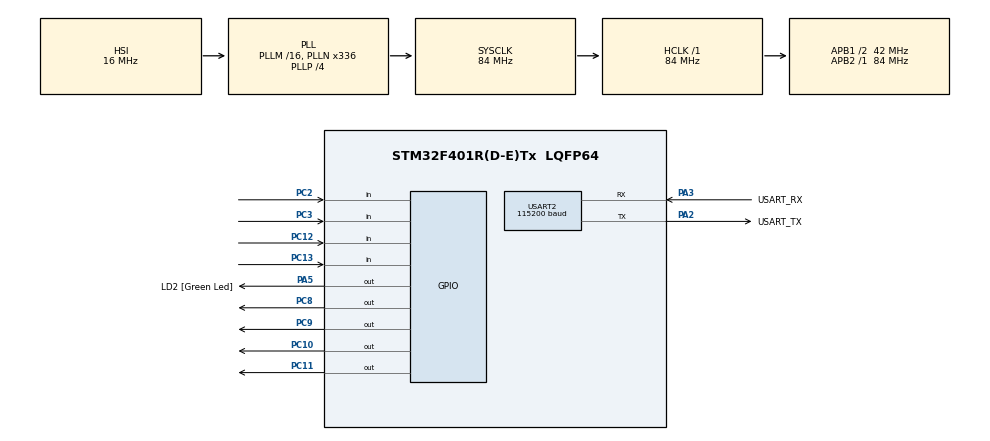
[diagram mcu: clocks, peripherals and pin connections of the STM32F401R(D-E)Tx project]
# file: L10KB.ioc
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Dma.Request0=USART2_TX
Dma.USART2_TX.0.Direction=DMA_MEMORY_TO_PERIPH
Dma.USART2_TX.0.FIFOMode=DMA_FIFOMODE_DISABLE
Dma.USART2_TX.0.Instance=DMA1_Stream6
Dma.USART2_TX.0.MemDataAlignment=DMA_MDATAALIGN_BYTE
Dma.USART2_TX.0.MemInc=DMA_MINC_ENABLE
Dma.USART2_TX.0.Mode=DMA_NORMAL
Dma.USART2_TX.0.PeriphDataAlignment=DMA_PDATAALIGN_BYTE
Dma.USART2_TX.0.PeriphInc=DMA_PINC_DISABLE
Dma.USART2_TX.0.Priority=DMA_PRIORITY_LOW
Mcu.Family=STM32F4
Mcu.Name=STM32F401R(D-E)Tx
Mcu.Package=LQFP64
NVIC.DMA1_Stream6_IRQn=true\:0\:0\:false\:false\:true\:false\:true\:true
NVIC.PriorityGroup=NVIC_PRIORITYGROUP_0
NVIC.TIM1_UP_TIM10_IRQn=true\:0\:0\:false\:false\:true\:true\:true\:true
NVIC.USART2_IRQn=true\:0\:0\:false\:false\:true\:true\:true\:true
PA13.GPIO_Label=TMS
PA13.Mode=Serial_Wire
PA13.Signal=SYS_JTMS-SWDIO
PA14.GPIO_Label=TCK
PA14.Mode=Serial_Wire
PA14.Signal=SYS_JTCK-SWCLK
PA2.GPIO_Label=USART_TX
PA2.GPIO_Mode=GPIO_MODE_AF_PP
PA2.GPIO_PuPd=GPIO_NOPULL
PA2.GPIO_Speed=GPIO_SPEED_FREQ_LOW
PA2.Mode=Asynchronous
PA2.Signal=USART2_TX
PA3.GPIO_Label=USART_RX
PA3.GPIO_Mode=GPIO_MODE_AF_PP
PA3.GPIO_PuPd=GPIO_NOPULL
PA3.GPIO_Speed=GPIO_SPEED_FREQ_LOW
PA3.Mode=Asynchronous
PA3.Signal=USART2_RX
PA5.GPIO_Label=LD2 [Green Led]
PA5.GPIO_Mode=GPIO_MODE_OUTPUT_PP
PA5.GPIO_PuPd=GPIO_NOPULL
PA5.GPIO_Speed=GPIO_SPEED_FREQ_LOW
PA5.Signal=GPIO_Output
PB3.GPIO_Label=SWO
PB3.Signal=SYS_JTDO-SWO
PC10.Signal=GPIO_Output
PC11.Signal=GPIO_Output
PC12.Signal=GPIO_Input
PC13-ANTI_TAMP.Signal=GPIO_Input
PC14-OSC32_IN.Mode=LSE-External-Oscillator
PC14-OSC32_IN.Signal=RCC_OSC32_IN
PC15-OSC32_OUT.Mode=LSE-External-Oscillator
PC15-OSC32_OUT.Signal=RCC_OSC32_OUT
PC2.Signal=GPIO_Input
PC3.Signal=GPIO_Input
PC8.Signal=GPIO_Output
PC9.Signal=GPIO_Output
PH0\ -\ OSC_IN.Mode=HSE-External-Clock-Source
PH0\ -\ OSC_IN.Signal=RCC_OSC_IN
PH1\ -\ OSC_OUT.Mode=HSE-External-Clock-Source
PH1\ -\ OSC_OUT.Signal=RCC_OSC_OUT
ProjectManager.HeapSize=0x200
ProjectManager.StackSize=0x400
ProjectManager.TargetToolchain=STM32CubeIDE
RCC.48MHZClocksFreq_Value=48000000
RCC.AHBFreq_Value=84000000
RCC.APB1CLKDivider=RCC_HCLK_DIV2
RCC.APB1Freq_Value=42000000
RCC.APB1TimFreq_Value=84000000
RCC.APB2Freq_Value=84000000
RCC.APB2TimFreq_Value=84000000
RCC.CortexFreq_Value=84000000
RCC.HCLKFreq_Value=84000000
RCC.HSE_VALUE=8000000
RCC.HSI_VALUE=16000000
RCC.PLLN=336
RCC.PLLP=RCC_PLLP_DIV4
RCC.PLLQ=7
RCC.SYSCLKFreq_VALUE=84000000
RCC.SYSCLKSource=RCC_SYSCLKSOURCE_PLLCLK
RCC.VCOOutputFreq_Value=336000000
TIM1.Period=39
TIM1.Prescaler=8399
USART2.BaudRate=115200
USART2.VirtualMode=VM_ASYNC
VP_TIM1_VS_ClockSourceINT.Mode=Internal
board=NUCLEO-F401RE

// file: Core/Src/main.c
/* USER CODE BEGIN Header */
/**
  ******************************************************************************
  * @file           : main.c
  * @brief          : Main program body
  ******************************************************************************
  * @attention
  *
  * Copyright (c) 2024 STMicroelectronics.
  * All rights reserved.
  *
  * This software is licensed under terms that can be found in the LICENSE file
  * in the root directory of this software component.
  * If no LICENSE file comes with this software, it is provided AS-IS.
  *
  ******************************************************************************
  */
/* USER CODE END Header */
#include "main.h"

/* USER CODE BEGIN PD */
uint8_t col = 0;	// current column to be read
GPIO_PinState prev[4][4] = {{GPIO_PIN_SET, GPIO_PIN_SET, GPIO_PIN_SET, GPIO_PIN_SET}, // transposed keyboard matrix of previous values
		{GPIO_PIN_SET, GPIO_PIN_SET, GPIO_PIN_SET, GPIO_PIN_SET},
		{GPIO_PIN_SET, GPIO_PIN_SET, GPIO_PIN_SET, GPIO_PIN_SET},
		{GPIO_PIN_SET, GPIO_PIN_SET, GPIO_PIN_SET, GPIO_PIN_SET}
};
GPIO_PinState prev2[4][4] = {{GPIO_PIN_SET, GPIO_PIN_SET, GPIO_PIN_SET, GPIO_PIN_SET}, // transposed keyboard matrix of the values read 2 cycles before
		{GPIO_PIN_SET, GPIO_PIN_SET, GPIO_PIN_SET, GPIO_PIN_SET},
		{GPIO_PIN_SET, GPIO_PIN_SET, GPIO_PIN_SET, GPIO_PIN_SET},
		{GPIO_PIN_SET, GPIO_PIN_SET, GPIO_PIN_SET, GPIO_PIN_SET}
};
GPIO_PinState col_activation[4][4] = {{GPIO_PIN_SET, GPIO_PIN_RESET, GPIO_PIN_RESET, GPIO_PIN_RESET}, // values to send to column GPIO pins for activation
		{GPIO_PIN_RESET, GPIO_PIN_SET, GPIO_PIN_RESET, GPIO_PIN_RESET},
		{GPIO_PIN_RESET, GPIO_PIN_RESET, GPIO_PIN_SET, GPIO_PIN_RESET},
		{GPIO_PIN_RESET, GPIO_PIN_RESET, GPIO_PIN_RESET, GPIO_PIN_SET}
};
char character[4][4] = {{'F', 'B', '7', '3'},	// character associated with each key
		{'E', 'A', '6', '2'},
		{'D', '9', '5', '1'},
		{'C', '8', '4', '0'}
};
char string[128]; 	// string for UART transmission
int length;			// length of string
/* USER CODE END PD */

TIM_HandleTypeDef htim1;

UART_HandleTypeDef huart2;
DMA_HandleTypeDef hdma_usart2_tx;

void SystemClock_Config(void);
static void MX_GPIO_Init(void);
static void MX_DMA_Init(void);
static void MX_USART2_UART_Init(void);
static void MX_TIM1_Init(void);

int main(void)
{

  /* MCU Configuration--------------------------------------------------------*/

  /* Reset of all peripherals, Initializes the Flash interface and the Systick. */
  HAL_Init();

  /* Configure the system clock */
  SystemClock_Config();

  /* Initialize all configured peripherals */
  MX_GPIO_Init();
  MX_DMA_Init();
  MX_USART2_UART_Init();
  MX_TIM1_Init();
  /* USER CODE BEGIN 2 */
  // enable first column
  HAL_GPIO_WritePin(GPIOC, GPIO_PIN_11, col_activation[col][0]);
  HAL_GPIO_WritePin(GPIOC, GPIO_PIN_10, col_activation[col][1]);
  HAL_GPIO_WritePin(GPIOC, GPIO_PIN_9, col_activation[col][2]);
  HAL_GPIO_WritePin(GPIOC, GPIO_PIN_8, col_activation[col][3]);

  HAL_TIM_Base_Start_IT(&htim1);
  /* USER CODE END 2 */

  /* Infinite loop */
  while (1)
  {

  }
}

void SystemClock_Config(void)
{
  RCC_OscInitTypeDef RCC_OscInitStruct = {0};
  RCC_ClkInitTypeDef RCC_ClkInitStruct = {0};

  /** Configure the main internal regulator output voltage
  */
  __HAL_RCC_PWR_CLK_ENABLE();
  __HAL_PWR_VOLTAGESCALING_CONFIG(PWR_REGULATOR_VOLTAGE_SCALE2);

  /** Initializes the RCC Oscillators according to the specified parameters
  * in the RCC_OscInitTypeDef structure.
  */
  RCC_OscInitStruct.OscillatorType = RCC_OSCILLATORTYPE_HSI;
  RCC_OscInitStruct.HSIState = RCC_HSI_ON;
  RCC_OscInitStruct.HSICalibrationValue = RCC_HSICALIBRATION_DEFAULT;
  RCC_OscInitStruct.PLL.PLLState = RCC_PLL_ON;
  RCC_OscInitStruct.PLL.PLLSource = RCC_PLLSOURCE_HSI;
  RCC_OscInitStruct.PLL.PLLM = 16;
  RCC_OscInitStruct.PLL.PLLN = 336;
  RCC_OscInitStruct.PLL.PLLP = RCC_PLLP_DIV4;
  RCC_OscInitStruct.PLL.PLLQ = 7;
  if (HAL_RCC_OscConfig(&RCC_OscInitStruct) != HAL_OK)
  {
    Error_Handler();
  }

  /** Initializes the CPU, AHB and APB buses clocks
  */
  RCC_ClkInitStruct.ClockType = RCC_CLOCKTYPE_HCLK|RCC_CLOCKTYPE_SYSCLK
                              |RCC_CLOCKTYPE_PCLK1|RCC_CLOCKTYPE_PCLK2;
  RCC_ClkInitStruct.SYSCLKSource = RCC_SYSCLKSOURCE_PLLCLK;
  RCC_ClkInitStruct.AHBCLKDivider = RCC_SYSCLK_DIV1;
  RCC_ClkInitStruct.APB1CLKDivider = RCC_HCLK_DIV2;
  RCC_ClkInitStruct.APB2CLKDivider = RCC_HCLK_DIV1;

  if (HAL_RCC_ClockConfig(&RCC_ClkInitStruct, FLASH_LATENCY_2) != HAL_OK)
  {
    Error_Handler();
  }
}

static void MX_TIM1_Init(void)
{

  TIM_ClockConfigTypeDef sClockSourceConfig = {0};
  TIM_MasterConfigTypeDef sMasterConfig = {0};

  htim1.Instance = TIM1;
  htim1.Init.Prescaler = 8399;
  htim1.Init.CounterMode = TIM_COUNTERMODE_UP;
  htim1.Init.Period = 39;
  htim1.Init.ClockDivision = TIM_CLOCKDIVISION_DIV1;
  htim1.Init.RepetitionCounter = 0;
  htim1.Init.AutoReloadPreload = TIM_AUTORELOAD_PRELOAD_DISABLE;
  if (HAL_TIM_Base_Init(&htim1) != HAL_OK)
  {
    Error_Handler();
  }
  sClockSourceConfig.ClockSource = TIM_CLOCKSOURCE_INTERNAL;
  if (HAL_TIM_ConfigClockSource(&htim1, &sClockSourceConfig) != HAL_OK)
  {
    Error_Handler();
  }
  sMasterConfig.MasterOutputTrigger = TIM_TRGO_RESET;
  sMasterConfig.MasterSlaveMode = TIM_MASTERSLAVEMODE_DISABLE;
  if (HAL_TIMEx_MasterConfigSynchronization(&htim1, &sMasterConfig) != HAL_OK)
  {
    Error_Handler();
  }

}

static void MX_USART2_UART_Init(void)
{

  huart2.Instance = USART2;
  huart2.Init.BaudRate = 115200;
  huart2.Init.WordLength = UART_WORDLENGTH_8B;
  huart2.Init.StopBits = UART_STOPBITS_1;
  huart2.Init.Parity = UART_PARITY_NONE;
  huart2.Init.Mode = UART_MODE_TX_RX;
  huart2.Init.HwFlowCtl = UART_HWCONTROL_NONE;
  huart2.Init.OverSampling = UART_OVERSAMPLING_16;
  if (HAL_UART_Init(&huart2) != HAL_OK)
  {
    Error_Handler();
  }

}

static void MX_DMA_Init(void)
{

  /* DMA controller clock enable */
  __HAL_RCC_DMA1_CLK_ENABLE();

  /* DMA interrupt init */
  /* DMA1_Stream6_IRQn interrupt configuration */
  HAL_NVIC_SetPriority(DMA1_Stream6_IRQn, 0, 0);
  HAL_NVIC_EnableIRQ(DMA1_Stream6_IRQn);

}

static void MX_GPIO_Init(void)
{
  GPIO_InitTypeDef GPIO_InitStruct = {0};

  /* GPIO Ports Clock Enable */
  __HAL_RCC_GPIOC_CLK_ENABLE();
  __HAL_RCC_GPIOH_CLK_ENABLE();
  __HAL_RCC_GPIOA_CLK_ENABLE();
  __HAL_RCC_GPIOB_CLK_ENABLE();

  /*Configure GPIO pin Output Level */
  HAL_GPIO_WritePin(LD2_GPIO_Port, LD2_Pin, GPIO_PIN_RESET);

  /*Configure GPIO pin Output Level */
  HAL_GPIO_WritePin(GPIOC, GPIO_PIN_8|GPIO_PIN_9|GPIO_PIN_10|GPIO_PIN_11, GPIO_PIN_RESET);

  /*Configure GPIO pins : PC13 PC2 PC3 PC12 */
  GPIO_InitStruct.Pin = GPIO_PIN_13|GPIO_PIN_2|GPIO_PIN_3|GPIO_PIN_12;
  GPIO_InitStruct.Mode = GPIO_MODE_INPUT;
  GPIO_InitStruct.Pull = GPIO_NOPULL;
  HAL_GPIO_Init(GPIOC, &GPIO_InitStruct);

  /*Configure GPIO pin : LD2_Pin */
  GPIO_InitStruct.Pin = LD2_Pin;
  GPIO_InitStruct.Mode = GPIO_MODE_OUTPUT_PP;
  GPIO_InitStruct.Pull = GPIO_NOPULL;
  GPIO_InitStruct.Speed = GPIO_SPEED_FREQ_LOW;
  HAL_GPIO_Init(LD2_GPIO_Port, &GPIO_InitStruct);

  /*Configure GPIO pins : PC8 PC9 PC10 PC11 */
  GPIO_InitStruct.Pin = GPIO_PIN_8|GPIO_PIN_9|GPIO_PIN_10|GPIO_PIN_11;
  GPIO_InitStruct.Mode = GPIO_MODE_OUTPUT_PP;
  GPIO_InitStruct.Pull = GPIO_NOPULL;
  GPIO_InitStruct.Speed = GPIO_SPEED_FREQ_LOW;
  HAL_GPIO_Init(GPIOC, &GPIO_InitStruct);

}

/* USER CODE BEGIN 4 */
void HAL_TIM_PeriodElapsedCallback(TIM_HandleTypeDef *htim) {
	if (htim->Instance == TIM1) {
		GPIO_PinState r[4]; // values read on each row
		r[0] = HAL_GPIO_ReadPin(GPIOC, GPIO_PIN_3);
		r[1] = HAL_GPIO_ReadPin(GPIOC, GPIO_PIN_2);
		r[2] = HAL_GPIO_ReadPin(GPIOC, GPIO_PIN_13);
		r[3] = HAL_GPIO_ReadPin(GPIOC, GPIO_PIN_12);
		for (int i = 0; i < 4; i++) { // iterate through rows
			if (r[i] == GPIO_PIN_RESET && prev[col][i] == GPIO_PIN_RESET && prev2[col][i] == GPIO_PIN_SET) { // requires key to be held for 1 full cycle (16ms) before input is processed to prevent bouncing effects
				length = snprintf(string, sizeof(string), "%c\n", character[col][i]);
				//HAL_UART_Transmit_DMA(&huart2, string, length);
				HAL_UART_Transmit(&huart2, string, length, 1);
			}
			prev2[col][i] = prev[col][i]; // update previous values matrices
			prev[col][i] = r[i];
		}
		col = (col + 1) % 4; // iterate through columns
		HAL_GPIO_WritePin(GPIOC, GPIO_PIN_11, col_activation[col][0]);
		HAL_GPIO_WritePin(GPIOC, GPIO_PIN_10, col_activation[col][1]);
		HAL_GPIO_WritePin(GPIOC, GPIO_PIN_9, col_activation[col][2]);
		HAL_GPIO_WritePin(GPIOC, GPIO_PIN_8, col_activation[col][3]);
	}
}
/* USER CODE END 4 */

void Error_Handler(void)
{
  __disable_irq();
  while (1)
  {
  }
}
